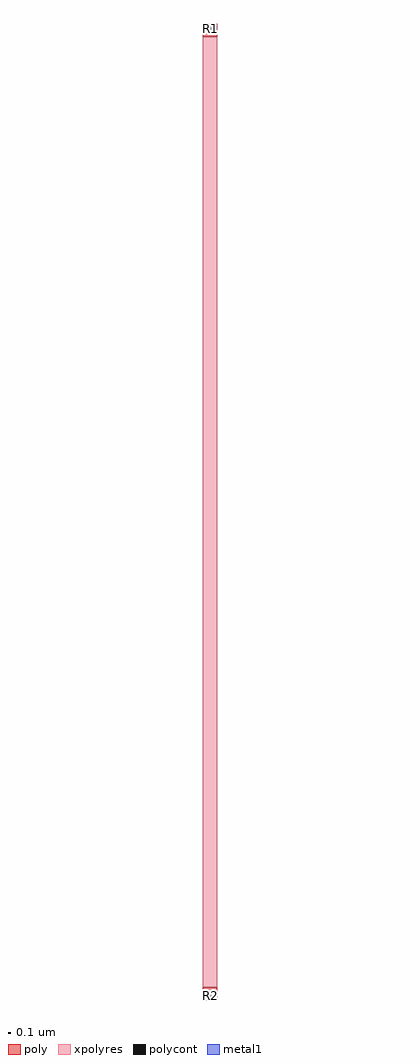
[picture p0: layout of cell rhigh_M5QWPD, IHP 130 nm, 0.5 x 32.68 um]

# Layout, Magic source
magic
tech ihp-sg13cmos5l
<< poly >>
rect -25 1627 25 1634
rect -25 1611 -18 1627
rect 18 1611 25 1627
rect -25 1591 25 1611
rect -25 -1611 25 -1591
rect -25 -1627 -18 -1611
rect 18 -1627 25 -1611
rect -25 -1634 25 -1627
<< polycont >>
rect -18 1611 18 1627
rect -18 -1627 18 -1611
<< xpolyres >>
rect -25 -1591 25 1591
<< metal1 >>
rect -23 1611 -18 1627
rect 18 1611 23 1627
rect -23 -1627 -18 -1611
rect 18 -1627 23 -1611
<< labels >>
rlabel polycont 0 1619 0 1619 0 R1
port 7 nsew
rlabel polycont 0 -1619 0 -1619 0 R2
port 8 nsew
<< properties >>
string gencell rhigh
string library sg13cmos5l
string MASKHINTS_CONTBAR -25 -1634 25 1634
string parameters w 0.5 l 31.83 m 1 nx 1 wmin 0.50 lmin 0.50 class resistor rho 1360 val 86.577k dummy 0 dw 0.0 term 0.0 sterm 0.0 caplen 0 bar 1 guard 0 glc 1 grc 1 gtc 1 gbc 1 snake 0 full_metal 1 n_guard 0 hv_guard 0 vias 0 viagb 0 viagt 0 viagl 0 viagr 0 doports 1
<< end >>
